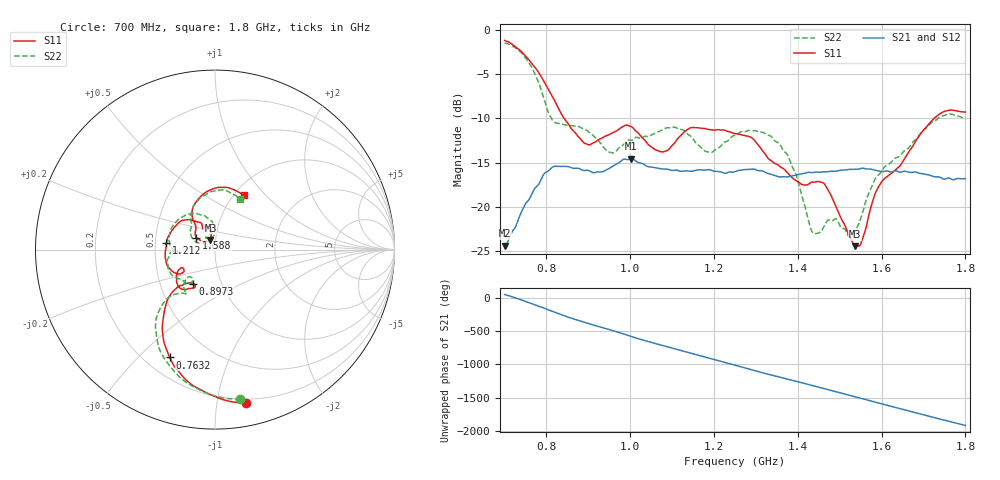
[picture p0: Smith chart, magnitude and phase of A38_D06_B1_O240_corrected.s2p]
! Created with skrf 1.9.0 (http://scikit-rf.org).
# Hz S RI R 50.0
!freq ReS11 ImS11 ReS21 ImS21 ReS12 ImS12 ReS22 ImS22
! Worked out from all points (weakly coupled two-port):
!   1601 points, 700 MHz to 1.8 GHz, reference 50 ohm
!   highest |S21| = -14.54 dB at 1.002 GHz (marker M1); lowest = -24.4 dB at 700.7 MHz (marker M2)
!   lowest |S11| = -24.4 dB at 1.537 GHz (marker M3), VSWR 1.13, Z = 47.2 + j5.16 ohm
!   |S11| at or under -10 dB: 842.2 MHz to 1.725 GHz (883.2 MHz wide, 68.8 % of centre)
!   |S22| runs from -23.4 to -1.5 dB; largest |S21 - S12| = 0.0035
!   S11 on the Smith chart (normalised r, x): 700 MHz: 0.17, -1.21; 763.2 MHz: 0.30, -0.62; 897.3 MHz: 0.73, -0.29; 1.212 GHz: 0.57, +0.04; 1.588 GHz: 0.81, +0.11; 1.8 GHz: 1.11, +0.76
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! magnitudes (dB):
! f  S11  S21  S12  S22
! 700 MHz  -1.2  -24.4  -24.1  -1.5
! 700.7 MHz  -1.2  -24.4  -24.1  -1.5
! 763.2 MHz  -3.7  -18.7  -18.7  -4.1
! 814.8 MHz  -7.6  -15.5  -15.5  -10.2
! 883.6 MHz  -12.4  -15.8  -15.7  -11.1
! 897.3 MHz  -12.9  -15.8  -15.9  -11.4
! 954.4 MHz  -11.7  -15.5  -15.5  -13.9
! 1.002 GHz  -10.9  -14.5  -14.6  -12.5
! 1.067 GHz  -13.7  -15.6  -15.6  -11.5
! 1.143 GHz  -11.1  -16.0  -15.9  -12.0
! 1.212 GHz  -11.3  -16.0  -16.0  -13.3
! 1.25 GHz  -11.7  -16.0  -15.9  -11.9
! 1.357 GHz  -15.4  -16.6  -16.5  -12.9
! 1.395 GHz  -17.0  -16.4  -16.4  -16.3
! 1.434 GHz  -17.2  -16.1  -16.1  -22.7
! 1.466 GHz  -17.6  -16.0  -16.0  -21.9
! 1.537 GHz  -24.4  -15.7  -15.7  -22.7
! 1.552 GHz  -23.8  -15.6  -15.7  -20.9
! 1.588 GHz  -18.2  -15.9  -15.9  -16.6
! 1.617 GHz  -16.4  -16.0  -15.9  -15.1
! 1.731 GHz  -9.7  -16.6  -16.6  -10.1
! 1.8 GHz  -9.3  -16.8  -16.8  -10.1
